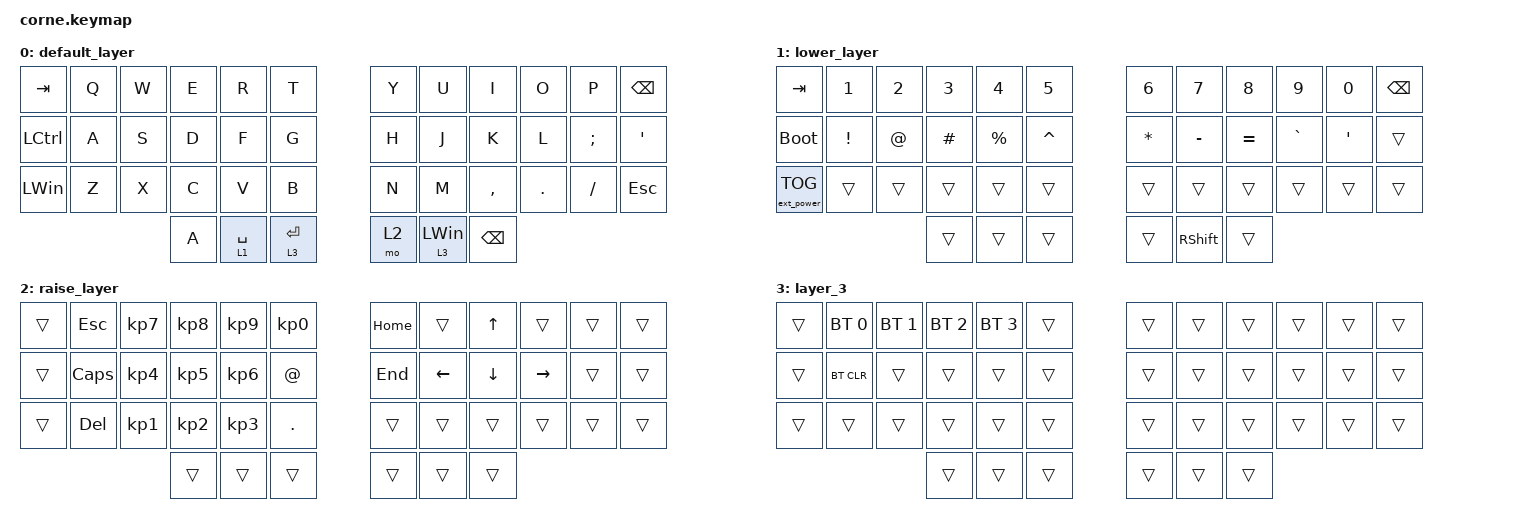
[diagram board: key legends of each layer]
/*
 * Copyright (c) 2020 The ZMK Contributors
 *
 * SPDX-License-Identifier: MIT
 */

#include <behaviors.dtsi>
#include <dt-bindings/zmk/bt.h>
#include <dt-bindings/zmk/ext_power.h>
#include <dt-bindings/zmk/keys.h>

/ {
    behaviors {
        hm: homerow_mods {
            compatible = "zmk,behavior-hold-tap";
            label = "HOMEROW_MODS";
            #binding-cells = <2>;
            tapping-term-ms = <200>;
            quick_tap_ms = <0>;
            flavor = "tap-preferred";
            bindings = <&kp>, <&kp>;

            quick-tap-ms = <180>;
            global-quick-tap;
        };

        ltq: ltq {
            compatible = "zmk,behavior-hold-tap";
            label = "LTQ";
            bindings = <&mo>, <&kp>;

            #binding-cells = <2>;
            tapping-term-ms = <600>;
            global-quick-tap;
            quick-tap-ms = <400>;
        };
    };

    combos {
        compatible = "zmk,combos";

        left_bkt {
            bindings = <&kp LEFT_BRACKET>;
            key-positions = <4 3>;
            timeout-ms = <50>;
        };

        right_bkt {
            bindings = <&kp RBKT>;
            key-positions = <7 8>;
            timeout-ms = <50>;
        };

        left_par {
            bindings = <&kp LEFT_PARENTHESIS>;
            key-positions = <15 16>;
            timeout-ms = <50>;
        };

        right_par {
            bindings = <&kp RIGHT_PARENTHESIS>;
            key-positions = <19 20>;
            timeout-ms = <50>;
        };

        left_brace {
            bindings = <&kp LEFT_BRACE>;
            key-positions = <27 28>;
            timeout-ms = <50>;
        };

        right_brace {
            bindings = <&kp RIGHT_BRACE>;
            key-positions = <32 31>;
            timeout-ms = <50>;
        };

        bac {
            bindings = <&kp BACKSLASH>;
            key-positions = <5 6>;
        };

        pipe {
            bindings = <&kp PIPE>;
            key-positions = <17 18>;
        };
    };

    keymap {
        compatible = "zmk,keymap";

        default_layer {
            bindings = <
&kp TAB    &kp Q  &kp W  &kp E  &kp R        &kp T        &kp Y  &kp U            &kp I          &kp O    &kp P          &kp BSPC
&kp LCTRL  &kp A  &kp S  &kp D  &kp F        &kp G        &kp H  &kp J            &kp K          &kp L    &kp SEMICOLON  &kp SQT
&kp LWIN   &kp Z  &kp X  &kp C  &kp V        &kp B        &kp N  &kp M            &kp COMMA      &kp DOT  &kp FSLH       &kp ESC
                         &kp A  &lt 1 SPACE  &lt 3 ENTER  &mo 2  &ltq 3 LEFT_WIN  &kp BACKSPACE
            >;
        };

        lower_layer {
            bindings = <
&kp TAB            &kp N1           &kp N2       &kp N3    &kp N4       &kp N5     &kp N6        &kp N7           &kp N8     &kp N9     &kp N0   &kp BSPC
&bootloader        &kp EXCLAMATION  &kp AT_SIGN  &kp HASH  &kp PERCENT  &kp CARET  &kp ASTERISK  &kp MINUS        &kp EQUAL  &kp GRAVE  &kp SQT  &trans
&ext_power EP_TOG  &trans           &trans       &trans    &trans       &trans     &trans        &trans           &trans     &trans     &trans   &trans
                                                 &trans    &trans       &trans     &trans        &kp RIGHT_SHIFT  &trans
            >;
        };

        raise_layer {
            bindings = <
&trans  &kp ESC     &kp KP_NUMBER_7  &kp KP_NUMBER_8  &kp KP_NUMBER_9  &kp KP_NUMBER_0  &kp HOME  &trans    &kp UP    &trans     &trans  &trans
&trans  &kp CAPS    &kp KP_NUMBER_4  &kp KP_NUMBER_5  &kp KP_NUMBER_6  &kp AT           &kp END   &kp LEFT  &kp DOWN  &kp RIGHT  &trans  &trans
&trans  &kp DELETE  &kp KP_NUMBER_1  &kp KP_NUMBER_2  &kp KP_NUMBER_3  &kp DOT          &trans    &trans    &trans    &trans     &trans  &trans
                                     &trans           &trans           &trans           &trans    &trans    &trans
            >;
        };

        layer_3 {
            bindings = <
&trans  &bt BT_SEL 0  &bt BT_SEL 1  &bt BT_SEL 2  &bt BT_SEL 3  &trans  &trans  &trans  &trans  &trans  &trans  &trans
&trans  &bt BT_CLR    &trans        &trans        &trans        &trans  &trans  &trans  &trans  &trans  &trans  &trans
&trans  &trans        &trans        &trans        &trans        &trans  &trans  &trans  &trans  &trans  &trans  &trans
                                    &trans        &trans        &trans  &trans  &trans  &trans
            >;
        };

        extra1 { status = "reserved"; };

        extra2 { status = "reserved"; };

        extra3 { status = "reserved"; };

        extra4 { status = "reserved"; };
    };
};
